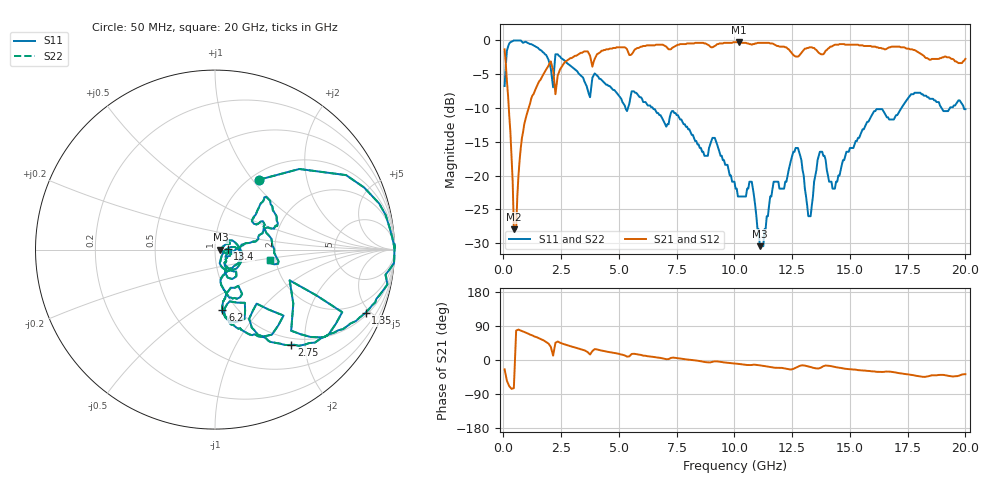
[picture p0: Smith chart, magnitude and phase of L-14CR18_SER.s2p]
# MHZ S MA R 50
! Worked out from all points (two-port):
!   400 points, 50 MHz to 20 GHz, reference 50 ohm
!   highest |S21| = -0.26 dB at 10.2 GHz (marker M1); lowest = -28.0 dB at 450 MHz (marker M2)
!   |S21| within 3 dB of the highest: 2.642 GHz to 3.811 GHz (1.169 GHz wide, 36.2 % of centre); 3.897 GHz to 19.67 GHz (15.77 GHz wide, 134 % of centre) (the widest 2 of 5)
!   lowest |S11| = -30.5 dB at 11.1 GHz (marker M3), VSWR 1.06, Z = 53.1 - j0.111 ohm
!   |S11| at or under -10 dB: 5.284 GHz to 5.391 GHz (106.7 MHz wide, 2 % of centre); 6.469 GHz to 17.23 GHz (10.76 GHz wide, 90.8 % of centre); 18.97 GHz to 19.33 GHz (362.6 MHz wide, 1.89 % of centre) (the widest 3 of 4)
!   |S22| runs from -30.5 to 0.0 dB; largest |S21 - S12| = 0
!   S11 on the Smith chart (normalised r, x): 50 MHz: 1.09, +1.08; 1.35 GHz: 1.14, -4.69; 2.75 GHz: 0.88, -1.73; 6.2 GHz: 0.86, -0.65; 13.4 GHz: 1.15, +0.01; 20 GHz: 1.86, -0.23
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50  0.46 57.8  0.86 -24.7  0.86 -24.7  0.46 57.8
200  0.9 22.6  0.39 -62.0  0.39 -62.0  0.9 22.6
450  1 0.5  0.04 -74.3  0.04 -74.3  1 0.5
800  0.98 -6.4  0.19 76.5  0.19 76.5  0.98 -6.4
1350  0.91 -22.8  0.42 61.8  0.42 61.8  0.91 -22.8
2150  0.45 -22.4  0.6 11.6  0.6 11.6  0.45 -22.4
2250  0.79 -26.2  0.4 45.3  0.4 45.3  0.79 -26.2
2750  0.68 -51.3  0.71 39.1  0.71 39.1  0.68 -51.3
3400  0.54 -62.3  0.81 27.9  0.81 27.9  0.54 -62.3
6200  0.34 -83.0  0.92 10.5  0.92 10.5  0.34 -83.0
6700  0.29 -80.2  0.93 6.3  0.93 6.3  0.29 -80.2
10050  0.08 -42.9  0.97 -9.4  0.97 -9.4  0.08 -42.9
10200  0.07 -29.7  0.97 -10.4  0.97 -10.4  0.07 -29.7
10750  0.09 -9.7  0.93 -13.1  0.93 -13.1  0.09 -9.7
11100  0.03 -2.0  0.96 -14.1  0.96 -14.1  0.03 -2.0
12650  0.16 -26.0  0.76 -20.6  0.76 -20.6  0.16 -26.0
13350  0.06 -1.0  0.89 -19.6  0.89 -19.6  0.06 -1.0
13400  0.07 4.1  0.88 -20.4  0.88 -20.4  0.07 4.1
13700  0.15 -12.6  0.8 -21.2  0.8 -21.2  0.15 -12.6
14350  0.08 -28.4  0.93 -18.2  0.93 -18.2  0.08 -28.4
16700  0.26 33.6  0.89 -30.7  0.89 -30.7  0.26 33.6
20000  0.31 -10.3  0.73 -37.5  0.73 -37.5  0.31 -10.3
